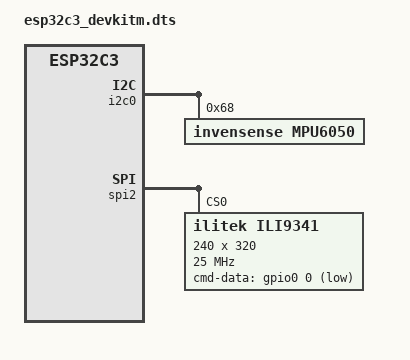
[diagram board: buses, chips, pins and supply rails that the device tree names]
/ {
	chosen {
		zephyr,display = &ili9341;
	};

	aliases {
		accel0 =&mpu6050;
	};
};

&i2c0 {
	mpu6050: mpu6050@68 {
		compatible = "invensense,mpu6050";
		reg = <0x68>;
		status = "okay";
	};
};

&spi2 {
	ili9341: ili9341@0 {
		compatible = "ilitek,ili9341";
		cmd-data-gpios = <&gpio0 0 GPIO_ACTIVE_LOW>;
		reg = <0x0 >;
		spi-max-frequency = <25000000>;
		width = <240>;
		height = <320>;
	};
};
